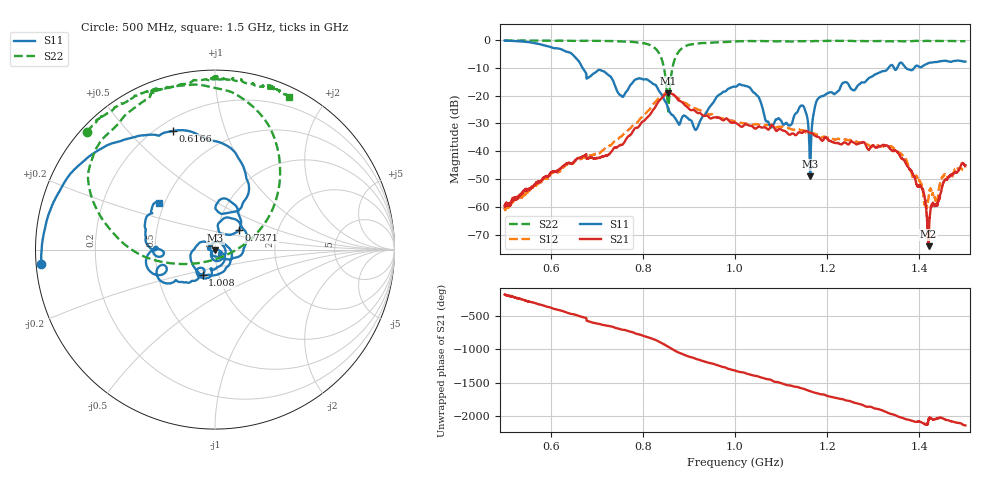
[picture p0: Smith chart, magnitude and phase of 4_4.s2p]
!Agilent Technologies,E8364B,US42250235,A.06.04.32
!Agilent E8364B: A.06.04.32
!Date: Thursday, October 01, 2020 14:40:33
!Correction: S11(Full 2 Port(1,2)) S21(Full 2 Port(1,2)) S12(Full 2 Port(1,2)) S22(Full 2 Port(1,2))
!S2P File: Measurements: S11, S21, S12, S22:
# Hz S  dB  R 50
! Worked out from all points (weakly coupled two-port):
!   2650 points, 500 MHz to 1.5 GHz, reference 50 ohm
!   highest |S21| = -19.15 dB at 855.6 MHz (marker M1); lowest = -74.2 dB at 1.42 GHz (marker M2)
!   lowest |S11| = -49.1 dB at 1.163 GHz (marker M3), VSWR 1.01, Z = 50.2 - j0.303 ohm
!   |S11| at or under -10 dB: 668.9 MHz to 1.333 GHz (664.4 MHz wide, 66.4 % of centre); 1.345 GHz to 1.352 GHz (7.127 MHz wide, 0.529 % of centre); 1.37 GHz to 1.389 GHz (18.68 MHz wide, 1.35 % of centre)
!   |S22| runs from -25.7 to -0.2 dB; largest |S21 - S12| = 0.029
!   S11 on the Smith chart (normalised r, x): 500 MHz: 0.01, -0.04; 616.6 MHz: 0.26, +0.68; 737.1 MHz: 1.27, +0.28; 1.008 GHz: 0.84, -0.24; 1.5 GHz: 0.47, +0.29
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5e8  -0.25 -175.2  -59.60 -177.1  -60.41 173.5  -0.25 137.4
6.166478e8  -3.08 109.4  -46.97 -47.1  -47.52 -59.5  -0.28 125.4
6.668554e8  -9.42 58.7  -42.14 -149.2  -42.67 -161.8  -0.33 119.8
7.370706e8  -15.34 39.2  -38.86 54.6  -36.66 71.0  -0.42 111.0
7.551906e8  -20.38 64.8  -37.70 16.5  -34.44 36.9  -0.56 105.4
8.027558e8  -14.24 37.5  -29.06 -79.7  -27.04 -67.3  -1.22 81.8
8.337108e8  -17.94 -20.0  -22.24 -158.4  -21.10 -152.7  -4.38 53.3
8.556059e8  -24.95 -49.9  -19.15 117.4  -18.89 126.0  -25.19 -92.4
8.84296e8  -28.20 -39.7  -22.27 15.3  -21.79 32.2  -3.11 161.0
9.16006e8  -32.16 -162.1  -25.91 -63.0  -24.73 -41.6  -1.33 142.0
1.000189e9  -16.84 -101.1  -29.78 122.8  -29.40 147.4  -0.54 112.0
1.008116e9  -16.01 -115.9  -30.57 106.4  -29.57 132.2  -0.50 110.3
1.078331e9  -31.50 166.3  -30.81 -17.2  -30.45 -2.2  -0.43 110.8
1.146659e9  -23.60 -69.7  -33.29 -144.9  -32.47 -138.8  -0.47 94.4
1.163269e9  -49.10 -59.5  -33.35 175.0  -33.36 -169.8  -0.49 91.9
1.166667e9  -31.85 -11.7  -33.47 166.2  -33.56 -177.1  -0.48 91.1
1.182899e9  -20.67 -66.8  -35.10 134.1  -34.40 150.1  -0.46 90.7
1.333522e9  -9.96 -143.5  -38.46 -154.8  -38.60 -131.8  -0.45 77.0
1.405625e9  -9.64 -179.6  -53.20 63.7  -52.62 79.8  -0.47 70.7
1.41997e9  -8.35 174.9  -74.16 113.0  -57.04 136.5  -0.33 72.0
1.454322e9  -7.49 155.8  -50.70 118.0  -48.48 108.1  -0.37 69.2
1.5e9  -7.80 139.9  -45.09 22.0  -45.97 38.8  -0.49 64.2
